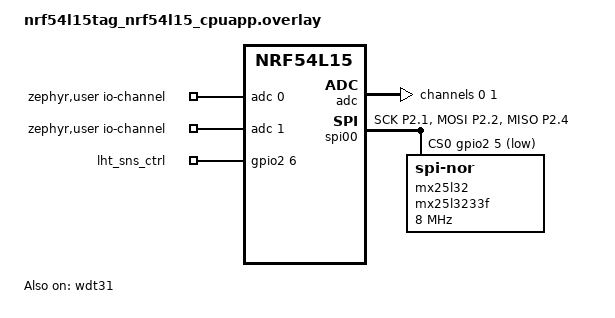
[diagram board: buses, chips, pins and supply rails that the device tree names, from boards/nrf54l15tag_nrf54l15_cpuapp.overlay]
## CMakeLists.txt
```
cmake_minimum_required(VERSION 3.20.0)

find_package(Zephyr REQUIRED HINTS $ENV{ZEPHYR_BASE})
project(juxta6_0_prod LANGUAGES C)

target_sources(app PRIVATE
	src/main.c
	src/ble_service.c
	src/juxta_time.c
	src/juxta_settings.c
	src/juxta_rtt_log.c
	src/juxta_antenna.c
	src/juxta_log.c
	src/juxta_light.c
	src/juxta_checkpoint.c
	${CMAKE_CURRENT_SOURCE_DIR}/../../lib/juxta_id/src/juxta_id.c
	${CMAKE_CURRENT_SOURCE_DIR}/../../lib/juxta_motion/src/juxta_motion.c
	${CMAKE_CURRENT_SOURCE_DIR}/../../lib/juxta_vdd/src/juxta_vdd.c
	# Vendored ADXL367 driver without boot self-test (CONFIG_ADXL367=n).
	${CMAKE_CURRENT_SOURCE_DIR}/../../lib/juxta_adxl367/src/adxl367.c
	${CMAKE_CURRENT_SOURCE_DIR}/../../lib/juxta_adxl367/src/adxl367_i2c.c
)
target_include_directories(app PRIVATE
	src
	${CMAKE_CURRENT_SOURCE_DIR}/../../lib/juxta_id/include
	${CMAKE_CURRENT_SOURCE_DIR}/../../lib/juxta_motion/include
	${CMAKE_CURRENT_SOURCE_DIR}/../../lib/juxta_vdd/include
)
```

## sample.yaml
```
sample:
  name: Juxta6-0 Prod
  description: >
    Shelf, Hublink datetime sync, dual-antenna max-RSSI production, live vitals,
    NOR CSV, MCUboot SMP BLE DFU. No Channel Sounding.

common:
  tags:
    - tag
    - juxta
    - production

tests:
  applications.juxta6-0-prod:
    platform_allow:
      - nrf54l15tag/nrf54l15/cpuapp
    harness: console
```

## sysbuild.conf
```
# juxta6-0-prod: MCUboot dual-slot images for SMP BLE DFU (nRF Device Manager).
SB_CONFIG_BOOTLOADER_MCUBOOT=y
# NCS 3.3: Partition Manager is deprecated. Use the Tag DTS layout
# (boot 64 KB, slot0/slot1 664 KB, storage 36 KB in nrf54l15_cpuapp_partition.dtsi).
SB_CONFIG_PARTITION_MANAGER=n
```

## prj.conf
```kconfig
# juxta6-0-prod M2: Hublink + dual-ant RSSI + live vitals + MX25L3233 NOR CSV
CONFIG_GPIO=y
CONFIG_ADC=y
CONFIG_I2C=y
CONFIG_SPI=y
CONFIG_SENSOR=y
# In-tree ADXL367 driver off: the app builds the vendored copy in
# lib/juxta_adxl367/ (identical except no motion-sensitive boot self-test).
CONFIG_ADXL367=n
CONFIG_BME680=y
CONFIG_BMI270=y
CONFIG_PM_DEVICE=y
# Lets the MX25 enter deep power-down between flash ops (see overlay has-dpd).
# HIL-14 (tag-nor-dpd) passed with rpm=on. Nordic's SoC defconfig defaults
# PM_DEVICE_RUNTIME_DEFAULT_ENABLE to y, which suspends every device at boot
# including i2c21. Keep that off so only the MX25 node opts in.
CONFIG_PM_DEVICE_RUNTIME=y
CONFIG_PM_DEVICE_RUNTIME_DEFAULT_ENABLE=n
CONFIG_HWINFO=y
CONFIG_POWEROFF=y
CONFIG_REBOOT=y

# Field survival: hard faults reboot instead of halting forever, and a
# hardware watchdog (wdt31, 60 s) catches silent hangs. Fed from all
# long-lived loops in main.c and from juxta_log's long-erase tick.
CONFIG_RESET_ON_FATAL_ERROR=y
CONFIG_WATCHDOG=y

# RTT must never block in the field (no debugger attached to drain it).
CONFIG_SEGGER_RTT_MODE_NO_BLOCK_SKIP=y
CONFIG_LOG_BACKEND_RTT_MODE_DROP=y

# GATT client required for bt_gatt_exchange_mtu() (iOS long writes).
CONFIG_BT_GATT_CLIENT=y

CONFIG_BT=y
CONFIG_BT_PERIPHERAL=y
CONFIG_BT_OBSERVER=y
CONFIG_BT_DEVICE_NAME="JX_TAG"
CONFIG_BT_DEVICE_NAME_DYNAMIC=y
CONFIG_BT_DEVICE_NAME_MAX=16
# Advertise preferred conn params in GAP (iOS reads before explicit update).
CONFIG_BT_GAP_PERIPHERAL_PREF_PARAMS=y
CONFIG_BT_PERIPHERAL_PREF_MIN_INT=24
CONFIG_BT_PERIPHERAL_PREF_MAX_INT=40
CONFIG_BT_PERIPHERAL_PREF_LATENCY=0
CONFIG_BT_PERIPHERAL_PREF_TIMEOUT=400
CONFIG_BT_MAX_CONN=1
CONFIG_BT_GATT_DYNAMIC_DB=y
CONFIG_BT_EXT_ADV=n
CONFIG_BT_RX_STACK_SIZE=6144

# Hublink transfer / Node JSON envelope (default ATT MTU is too small).
CONFIG_BT_L2CAP_TX_MTU=247
CONFIG_BT_BUF_ACL_RX_SIZE=251
CONFIG_BT_BUF_ACL_TX_SIZE=251
CONFIG_BT_ATT_PREPARE_COUNT=0
CONFIG_BT_PRIVACY=n
CONFIG_BT_SETTINGS=n

# External SPI NOR (MX25L3233) + internal NVS settings.
CONFIG_FLASH=y
CONFIG_FLASH_MAP=y
CONFIG_FLASH_PAGE_LAYOUT=y
CONFIG_SPI_NOR=y
CONFIG_SPI_NOR_SFDP_RUNTIME=y
CONFIG_NVS=y
CONFIG_SETTINGS=y
CONFIG_SETTINGS_NVS=y
# 8 x 4 KB sectors (36 KB storage partition): the juxta/log_cache blob is
# ~2.3 KB at JUXTA_MAX_FILES=72, so 4 sectors left no GC headroom.
CONFIG_SETTINGS_NVS_SECTOR_COUNT=8
CONFIG_MPU_ALLOW_FLASH_WRITE=y
CONFIG_CRC=y

CONFIG_LOG=y
CONFIG_LOG_DEFAULT_LEVEL=3
CONFIG_CBPRINTF_FP_SUPPORT=y

CONFIG_MAIN_STACK_SIZE=8192
CONFIG_SYSTEM_WORKQUEUE_STACK_SIZE=8192
CONFIG_HEAP_MEM_POOL_SIZE=16384

# MCUboot dual-slot image + mcumgr SMP BLE (DFU after ≥10 s magnet hold).
# Flash with Sysbuild enabled so MCUboot is linked; upload via nRF Device Manager.
CONFIG_BOOTLOADER_MCUBOOT=y
CONFIG_IMG_MANAGER=y
CONFIG_STREAM_FLASH=y
CONFIG_NET_BUF=y
CONFIG_ZCBOR=y
CONFIG_MCUMGR=y
CONFIG_MCUMGR_GRP_IMG=y
CONFIG_MCUMGR_GRP_OS=y
CONFIG_MCUMGR_TRANSPORT_BT=y
CONFIG_MCUMGR_TRANSPORT_BT_DYNAMIC_SVC_REGISTRATION=y
CONFIG_MCUMGR_TRANSPORT_BT_REASSEMBLY=y
CONFIG_MCUMGR_TRANSPORT_NETBUF_SIZE=1024
CONFIG_MCUMGR_TRANSPORT_WORKQUEUE_STACK_SIZE=4096
```

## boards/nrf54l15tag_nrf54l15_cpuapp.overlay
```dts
/*
 * juxta6-0-prod: un-hog SKY13348 + SAADC VDD + MX25L3233 (32 Mbit) on spi00.
 *
 * Sensors + external NOR use zephyr,deferred-init so their driver probes run
 * from main() after the CR2032 contact-settle sleep (not during POST_KERNEL).
 */

/ {
	zephyr,user {
		/* 0 = internal VDD (lib/juxta_vdd), 1 = LIGHT_SENSE (src/juxta_light). */
		io-channels = <&adc 0>, <&adc 1>;
	};

	lht_sns {
		compatible = "gpio-leds";

		/* RV2C010UNT2L gate. Active-high connects the 2.7 kΩ load. */
		lht_sns_ctrl: lht_sns_ctrl {
			gpios = <&gpio2 6 GPIO_ACTIVE_HIGH>;
		};
	};

	aliases {
		spi-flash0 = &mx25l32;
		spi-mem = &mx25l32;
		watchdog0 = &wdt31;
	};
};

/* Hardware watchdog for field hang recovery (runs from LFCLK, which stops
 * in System OFF, so shelf mode is unaffected). */
&wdt31 {
	status = "okay";
};

&gpio1 {
	/delete-node/ antenna_switch_v1;
	/delete-node/ antenna_switch_v2;
};

&adc {
	#address-cells = <1>;
	#size-cells = <0>;
	status = "okay";

	channel@0 {
		reg = <0>;
		zephyr,gain = "ADC_GAIN_1_4";
		zephyr,reference = "ADC_REF_INTERNAL";
		zephyr,acquisition-time = <ADC_ACQ_TIME_DEFAULT>;
		zephyr,resolution = <14>;
		zephyr,oversampling = <8>;
		zephyr,vref-mv = <900>;
		zephyr,input-positive = <NRF_SAADC_VDD>;
	};

	/* LIGHT_SENSE, P1.14. External pin can swing toward VDD, so GAIN_1_4
	 * with the 0.9 V reference (full scale 3.6 V). GAIN_1 clips above 0.9 V. */
	channel@1 {
		reg = <1>;
		zephyr,gain = "ADC_GAIN_1_4";
		zephyr,reference = "ADC_REF_INTERNAL";
		zephyr,acquisition-time = <ADC_ACQ_TIME_DEFAULT>;
		zephyr,resolution = <14>;
		zephyr,oversampling = <8>;
		zephyr,vref-mv = <900>;
		zephyr,input-positive = <NRF_SAADC_AIN7>;
	};
};

&pinctrl {
	spi00_default: spi00_default {
		group1 {
			psels = <NRF_PSEL(SPIM_SCK, 2, 1)>,
				<NRF_PSEL(SPIM_MOSI, 2, 2)>,
				<NRF_PSEL(SPIM_MISO, 2, 4)>;
		};
	};

	spi00_sleep: spi00_sleep {
		group1 {
			psels = <NRF_PSEL(SPIM_SCK, 2, 1)>,
				<NRF_PSEL(SPIM_MOSI, 2, 2)>,
				<NRF_PSEL(SPIM_MISO, 2, 4)>;
			low-power-enable;
		};
	};
};

&spi00 {
	status = "okay";
	cs-gpios = <&gpio2 5 GPIO_ACTIVE_LOW>;
	pinctrl-0 = <&spi00_default>;
	pinctrl-1 = <&spi00_sleep>;
	pinctrl-names = "default", "sleep";

	mx25l32: mx25l3233f@0 {
		compatible = "jedec,spi-nor";
		status = "okay";
		reg = <0>;
		spi-max-frequency = <8000000>;
		jedec-id = [c2 20 16];
		size = <0x2000000>; /* 32 Mbit = 4 MiB */
		has-dpd;
		t-enter-dpd = <10000>;
		t-exit-dpd = <100000>;
		/* Suspend into deep power-down between flash API calls.
		 * Requires CONFIG_PM_DEVICE_RUNTIME and
		 * CONFIG_PM_DEVICE_RUNTIME_DEFAULT_ENABLE=n in prj.conf.
		 */
		zephyr,pm-device-runtime-auto;
		zephyr,deferred-init;
	};
};

/*
 * SoC dts marks this TWIM zephyr,pm-device-runtime-auto. With runtime PM on,
 * that suspends the bus at boot (pins disconnected) and the first ADXL
 * transaction returns -EIO. NOR deep power-down does not need I2C runtime PM.
 */
&i2c21 {
	/delete-property/ zephyr,pm-device-runtime-auto;
};

/* Probe after contact settle in main() — see juxta6-0-prod src/main.c. */
&adxl367 {
	zephyr,deferred-init;
};

&bme688 {
	zephyr,deferred-init;
};

&bmi270 {
	zephyr,deferred-init;
};
```

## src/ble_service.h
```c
#ifndef JUXTA_BLE_SERVICE_H_
#define JUXTA_BLE_SERVICE_H_

#include <stdbool.h>
#include <stdint.h>

#include <zephyr/bluetooth/conn.h>
#include <zephyr/bluetooth/uuid.h>

#include "juxta_log.h"

#define JUXTA_HUBLINK_SERVICE_UUID                                                                  \
	0xFB, 0x34, 0x9B, 0x5F, 0x80, 0x00, 0x00, 0x80, 0x01, 0x00, 0x01, 0x55, 0x68, 0x73,       \
		0x61, 0x57
#define JUXTA_NODE_CHAR_UUID                                                                        \
	0xFB, 0x34, 0x9B, 0x5F, 0x80, 0x00, 0x00, 0x80, 0x01, 0x00, 0x05, 0x55, 0x68, 0x73,       \
		0x61, 0x57
#define JUXTA_GATEWAY_CHAR_UUID                                                                     \
	0xFB, 0x34, 0x9B, 0x5F, 0x80, 0x00, 0x00, 0x80, 0x01, 0x00, 0x04, 0x55, 0x68, 0x73,       \
		0x61, 0x57
#define JUXTA_FILENAME_CHAR_UUID                                                                    \
	0xFB, 0x34, 0x9B, 0x5F, 0x80, 0x00, 0x00, 0x80, 0x01, 0x00, 0x02, 0x55, 0x68, 0x73,       \
		0x61, 0x57
#define JUXTA_FILE_TRANSFER_CHAR_UUID                                                               \
	0xFB, 0x34, 0x9B, 0x5F, 0x80, 0x00, 0x00, 0x80, 0x01, 0x00, 0x03, 0x55, 0x68, 0x73,       \
		0x61, 0x57

#define BT_UUID_JUXTA_HUBLINK_SERVICE BT_UUID_DECLARE_128(JUXTA_HUBLINK_SERVICE_UUID)
#define BT_UUID_JUXTA_NODE_CHAR BT_UUID_DECLARE_128(JUXTA_NODE_CHAR_UUID)
#define BT_UUID_JUXTA_GATEWAY_CHAR BT_UUID_DECLARE_128(JUXTA_GATEWAY_CHAR_UUID)
#define BT_UUID_JUXTA_FILENAME_CHAR BT_UUID_DECLARE_128(JUXTA_FILENAME_CHAR_UUID)
#define BT_UUID_JUXTA_FILE_TRANSFER_CHAR BT_UUID_DECLARE_128(JUXTA_FILE_TRANSFER_CHAR_UUID)

int juxta_ble_service_init(struct juxta_log_context *log_ctx);
int juxta_ble_get_device_id(char *device_id);
void juxta_ble_connection_established(struct bt_conn *conn);
void juxta_ble_connection_terminated(void);
/* Drop the active Hublink link. No-op if none. */
void juxta_ble_disconnect(void);
int juxta_ble_get_status(uint16_t *mtu, bool *connected, bool *transfer_active);

/* Set a getter that returns current battery voltage in millivolts.
 * Called once from main() before advertising starts. */
void juxta_ble_set_battery_mv_source(int32_t (*getter)(void));
void juxta_ble_set_production_ready(void);

/* Push the current NOR fill level (0-100) for Node reads. Computing it walks
 * a whole NOR region with a main-thread-only scratch buffer, so the GATT read
 * handler must never do it inline on the BT RX thread; main.c refreshes this
 * after log init and at each vitals tick instead. */
void juxta_ble_set_memory_level(uint8_t percent);

bool juxta_ble_datetime_synced(void);
void juxta_ble_clear_datetime_synced(void);

/* Optional: implemented in main.c (may be empty). */
void juxta_ble_timing_update_trigger(void);
void juxta_ble_datetime_synchronized(void);
void juxta_ble_reset_requested(void);
/* Called from the BT RX thread when a gateway `clearMemory` command arrives.
 * The implementation must defer the actual NOR erase off the BT RX thread so
 * the GATT write callback returns promptly (the erase is many seconds long;
 * doing it inline blows past the BLE supervision timeout and stalls every
 * other consumer of the BT RX queue). */
void juxta_ble_clear_memory_requested(void);
/* Role (Mobile/Base) changed — main rebuilds ADV name / log device_id. */
void juxta_ble_role_changed(void);

#endif /* JUXTA_BLE_SERVICE_H_ */
```

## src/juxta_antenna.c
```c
#include "juxta_antenna.h"

#include <errno.h>

#include <zephyr/device.h>
#include <zephyr/devicetree.h>
#include <zephyr/drivers/gpio.h>
#include <zephyr/logging/log.h>
#include <zephyr/sys/atomic.h>

LOG_MODULE_REGISTER(juxta_antenna, LOG_LEVEL_INF);

#if !DT_NODE_EXISTS(DT_NODELABEL(sky13348))
#error "juxta_antenna requires sky13348"
#endif

static const struct gpio_dt_spec ant_v1 = GPIO_DT_SPEC_GET(DT_NODELABEL(sky13348), v1_gpios);
static const struct gpio_dt_spec ant_v2 = GPIO_DT_SPEC_GET(DT_NODELABEL(sky13348), v2_gpios);
static atomic_t cur_ant = ATOMIC_INIT(1);

int juxta_antenna_select(uint8_t ant)
{
	int err;

	if (ant == 1U) {
		err = gpio_pin_set_dt(&ant_v1, 1);
		if (err) {
			return err;
		}
		err = gpio_pin_set_dt(&ant_v2, 0);
		if (err) {
			return err;
		}
		atomic_set(&cur_ant, 1);
	} else if (ant == 2U) {
		err = gpio_pin_set_dt(&ant_v2, 1);
		if (err) {
			return err;
		}
		err = gpio_pin_set_dt(&ant_v1, 0);
		if (err) {
			return err;
		}
		atomic_set(&cur_ant, 2);
	} else {
		return -EINVAL;
	}

	return 0;
}

int juxta_antenna_init(void)
{
	int err;

	if (!gpio_is_ready_dt(&ant_v1) || !gpio_is_ready_dt(&ant_v2)) {
		LOG_ERR("antenna GPIO not ready (hog-delete overlay?)");
		return -ENODEV;
	}

	err = gpio_pin_configure_dt(&ant_v1, GPIO_OUTPUT_ACTIVE);
	if (err) {
		return err;
	}
	err = gpio_pin_configure_dt(&ant_v2, GPIO_OUTPUT_INACTIVE);
	if (err) {
		return err;
	}

	return juxta_antenna_select(1);
}

uint8_t juxta_antenna_current(void)
{
	return (uint8_t)atomic_get(&cur_ant);
}
```

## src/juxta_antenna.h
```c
#ifndef JUXTA_ANTENNA_H_
#define JUXTA_ANTENNA_H_

#include <stdint.h>

int juxta_antenna_init(void);
int juxta_antenna_select(uint8_t ant); /* 1 or 2 */
uint8_t juxta_antenna_current(void);

#endif /* JUXTA_ANTENNA_H_ */
```

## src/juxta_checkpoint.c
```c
#include "juxta_checkpoint.h"

#include <errno.h>
#include <stddef.h>
#include <string.h>

#include <zephyr/device.h>
#include <zephyr/devicetree.h>
#include <zephyr/drivers/flash.h>
#include <zephyr/kernel.h>
#include <zephyr/logging/log.h>
#include <zephyr/sys/crc.h>
#include <zephyr/sys/util.h>

LOG_MODULE_REGISTER(juxta_checkpoint, LOG_LEVEL_INF);

#define FLASH_NODE DT_ALIAS(spi_mem)

/* Ring geometry.  RING_START must match the space carved from the tail of
 * JXB in juxta_log.c (JXB_SIZE shrunk 0x2F0000 -> 0x2E0000); the two
 * modules never overlap and neither touches the other's region. */
#define RING_START 0x3F0000U
#define RING_SIZE 0x010000U
#define SECTOR_SIZE 0x1000U
#define SLOT_SIZE 32U

#define SLOTS_PER_SECTOR (SECTOR_SIZE / SLOT_SIZE) /* 128 */
#define TOTAL_SLOTS (RING_SIZE / SLOT_SIZE)		   /* 2048 */
#define SECTOR_COUNT (RING_SIZE / SECTOR_SIZE)	   /* 16 */

#define SLOT_MAGIC 0x4A58434BU /* 'JXCK' */
#define SLOT_VERSION 1U

/* On-flash record.  CRC32 covers everything before the crc32 field.
 * Erased flash (all 0xFF) naturally fails the magic + CRC check. */
struct checkpoint_slot
{
	uint32_t magic;
	uint32_t seq; /* monotonic across the whole ring; newest wins */
	uint32_t unix_time;
	uint32_t motion_count;
	int32_t batt_mv;
	int8_t temp_c;
	uint8_t version;
	uint8_t flags; /* reserved, 0 */
	uint8_t _pad;
	uint32_t reserved; /* future use, 0 */
	uint32_t crc32;
};

BUILD_ASSERT(sizeof(struct checkpoint_slot) == SLOT_SIZE,
			 "checkpoint slot must be exactly one ring slot");

static const struct device *const s_flash = DEVICE_DT_GET(FLASH_NODE);

/* Serializes head/seq mutations and multi-step flash sequences between the
 * 1 Hz checkpoint work item (sysworkq), the clearMemory work item (also
 * sysworkq) and enter_shelf_mode() on the main thread. */
static K_MUTEX_DEFINE(s_lock);

static bool s_scanned;	/* head/seq/newest are valid */
static bool s_disabled; /* writes no-op (shelf teardown) */
static uint32_t s_head; /* next slot index to write, 0..TOTAL_SLOTS-1 */
static uint32_t s_next_seq;
static struct juxta_checkpoint_record s_newest;
static bool s_newest_valid;

static uint32_t slot_offset(uint32_t slot)
{
	return RING_START + slot * SLOT_SIZE;
}

static uint32_t slot_crc(const struct checkpoint_slot *slot)
{
	return crc32_ieee((const uint8_t *)slot, offsetof(struct checkpoint_slot, crc32));
}

static bool slot_valid(const struct checkpoint_slot *slot)
{
	return slot->magic == SLOT_MAGIC && slot->version == SLOT_VERSION &&
		   slot->unix_time != 0U && slot->crc32 == slot_crc(slot);
}

static int erase_sector_at(uint32_t offset)
{
	int rc = flash_erase(s_flash, offset & ~(SECTOR_SIZE - 1U), SECTOR_SIZE);

	if (rc != 0)
	{
		LOG_ERR("sector erase @0x%06x failed: %d", (unsigned int)offset, rc);
	}
	return rc;
}

/* Scan the whole ring: remember the newest valid record (highest seq) and
 * park the write head on the slot after it.  If the remainder of the head's
 * sector is not erased (stale data from a previous wrap), advance the head
 * to the next sector boundary — the on-entry erase in write() handles the
 * rest.  Must be called with s_lock held. */
static int scan_ring_locked(void)
{
	static uint8_t buf[512]; /* 16 slots per read, 128 reads total */
	struct checkpoint_slot slot;
	uint32_t best_seq = 0U;
	uint32_t best_slot = UINT32_MAX;
	struct juxta_checkpoint_record best = {0};

	if (!device_is_ready(s_flash))
	{
		return -ENODEV;
	}

	for (uint32_t off = 0U; off < RING_SIZE; off += sizeof(buf))
	{
		int rc = flash_read(s_flash, RING_START + off, buf, sizeof(buf));

		if (rc != 0)
		{
			LOG_ERR("scan read @0x%06x failed: %d", (unsigned int)(RING_START + off), rc);
			return rc;
		}

		for (uint32_t i = 0U; i < sizeof(buf); i += SLOT_SIZE)
		{
			memcpy(&slot, &buf[i], sizeof(slot));
			if (slot_valid(&slot) && slot.seq >= best_seq)
			{
				best_seq = slot.seq;
				best_slot = (off + i) / SLOT_SIZE;
				best.unix_time = slot.unix_time;
				best.motion_count = slot.motion_count;
				best.batt_mv = slot.batt_mv;
				best.temp_c = slot.temp_c;
			}
		}
	}

	if (best_slot == UINT32_MAX)
	{
		s_head = 0U;
		s_next_seq = 1U;
		s_newest_valid = false;
		s_scanned = true;
		LOG_INF("ring empty — head at slot 0");
		return 0;
	}

	s_newest = best;
	s_newest_valid = true;
	s_next_seq = best_seq + 1U;
	s_head = (best_slot + 1U) % TOTAL_SLOTS;

	/* Stale-tail check: programming over non-erased bytes would corrupt
	 * every record until the next sector boundary.  If any byte between
	 * the head and its sector end is not 0xFF, skip to the next sector
	 * (loses nothing newer than the oldest records). */
	if ((s_head % SLOTS_PER_SECTOR) != 0U)
	{
		uint32_t sector_end_slot = ((s_head / SLOTS_PER_SECTOR) + 1U) * SLOTS_PER_SECTOR;
		bool tail_erased = true;

		for (uint32_t slot_idx = s_head; slot_idx < sector_end_slot && tail_erased;
			 slot_idx += sizeof(buf) / SLOT_SIZE)
		{
			uint32_t count = MIN(sizeof(buf) / SLOT_SIZE, sector_end_slot - slot_idx);
			int rc = flash_read(s_flash, slot_offset(slot_idx), buf, count * SLOT_SIZE);

			if (rc != 0)
			{
				return rc;
			}
			for (uint32_t b = 0U; b < count * SLOT_SIZE; b++)
			{
				if (buf[b] != 0xFFU)
				{
					tail_erased = false;
					break;
				}
			}
		}

		if (!tail_erased)
		{
			s_head = sector_end_slot % TOTAL_SLOTS;
		}
	}

	s_scanned = true;
	LOG_INF("newest seq=%u unix=%u — head at slot %u", best_seq, best.unix_time, s_head);
	return 0;
}

static int ensure_scanned_locked(void)
{
	if (s_scanned)
	{
		return 0;
	}
	return scan_ring_locked();
}

int juxta_checkpoint_init(void)
{
	k_mutex_lock(&s_lock, K_FOREVER);
	int rc = ensure_scanned_locked();

	k_mutex_unlock(&s_lock);
	return rc;
}

int juxta_checkpoint_load(struct juxta_checkpoint_record *out)
{
	if (!out)
	{
		return -EINVAL;
	}

	k_mutex_lock(&s_lock, K_FOREVER);
	int rc = ensure_scanned_locked();

	if (rc == 0)
	{
		if (s_newest_valid)
		{
			*out = s_newest;
		}
		else
		{
			rc = -ENOENT;
		}
	}
	k_mutex_unlock(&s_lock);
	return rc;
}

int juxta_checkpoint_write(const struct juxta_checkpoint_record *rec)
{
	struct checkpoint_slot slot;
	int rc;

	if (!rec || rec->unix_time == 0U)
	{
		return -EINVAL;
	}

	k_mutex_lock(&s_lock, K_FOREVER);

	if (s_disabled)
	{
		k_mutex_unlock(&s_lock);
		return 0;
	}

	rc = ensure_scanned_locked();
	if (rc != 0)
	{
		k_mutex_unlock(&s_lock);
		return rc;
	}

	/* On-entry erase: the sector the head is entering holds only the
	 * oldest ~2 minutes of records.  ~45 ms once every 128 writes —
	 * negligible next to the 60 s watchdog window. */
	if ((s_head % SLOTS_PER_SECTOR) == 0U)
	{
		rc = erase_sector_at(slot_offset(s_head));
		if (rc != 0)
		{
			k_mutex_unlock(&s_lock);
			return rc;
		}
	}

	memset(&slot, 0, sizeof(slot));
	slot.magic = SLOT_MAGIC;
	slot.seq = s_next_seq;
	slot.unix_time = rec->unix_time;
	slot.motion_count = rec->motion_count;
	slot.batt_mv = rec->batt_mv;
	slot.temp_c = rec->temp_c;
	slot.version = SLOT_VERSION;
	slot.crc32 = slot_crc(&slot);

	rc = flash_write(s_flash, slot_offset(s_head), &slot, sizeof(slot));
	if (rc != 0)
	{
		LOG_ERR("slot write @%u failed: %d", s_head, rc);
		/* Skip the (possibly half-programmed) slot so the next write
		 * cannot land on dirty bytes. */
		s_head = (s_head + 1U) % TOTAL_SLOTS;
		k_mutex_unlock(&s_lock);
		return rc;
	}

	s_newest.unix_time = rec->unix_time;
	s_newest.motion_count = rec->motion_count;
	s_newest.batt_mv = rec->batt_mv;
	s_newest.temp_c = rec->temp_c;
	s_newest_valid = true;
	s_next_seq++;
	s_head = (s_head + 1U) % TOTAL_SLOTS;

	k_mutex_unlock(&s_lock);
	return 0;
}

/* Erase every non-blank sector of the ring and restart at slot 0.  The
 * already-erased check keeps repeat resets (activation after a shelf-entry
 * erase) nearly free.  Must be called with s_lock held. */
static int erase_ring_locked(void)
{
	static uint8_t buf[512];

	if (!device_is_ready(s_flash))
	{
		return -ENODEV;
	}

	for (uint32_t sector = 0U; sector < SECTOR_COUNT; sector++)
	{
		uint32_t base = RING_START + sector * SECTOR_SIZE;
		bool blank = true;

		for (uint32_t off = 0U; off < SECTOR_SIZE && blank; off += sizeof(buf))
		{
			int rc = flash_read(s_flash, base + off, buf, sizeof(buf));

			if (rc != 0)
			{
				return rc;
			}
			for (uint32_t b = 0U; b < sizeof(buf); b++)
			{
				if (buf[b] != 0xFFU)
				{
					blank = false;
					break;
				}
			}
		}

		if (!blank)
		{
			int rc = erase_sector_at(base);

			if (rc != 0)
			{
				return rc;
			}
		}
	}

	s_head = 0U;
	s_next_seq = 1U;
	s_newest_valid = false;
	s_scanned = true;
	return 0;
}

int juxta_checkpoint_reset(void)
{
	k_mutex_lock(&s_lock, K_FOREVER);
	int rc = erase_ring_locked();

	if (rc == 0)
	{
		s_disabled = false;
		LOG_INF("ring reset — checkpointing enabled");
	}
	k_mutex_unlock(&s_lock);
	return rc;
}

void juxta_checkpoint_disable(void)
{
	k_mutex_lock(&s_lock, K_FOREVER);
	s_disabled = true;
	k_mutex_unlock(&s_lock);
}

int juxta_checkpoint_erase(void)
{
	k_mutex_lock(&s_lock, K_FOREVER);
	int rc = erase_ring_locked();

	k_mutex_unlock(&s_lock);
	return rc;
}
```

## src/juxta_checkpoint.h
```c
/*
 * Production checkpoint ring ("draft vitals")
 *
 * A 64 KB ring buffer at the tail of the external NOR (carved from JXB)
 * that persists a small clock + vitals snapshot once per second while
 * production runs.  Unlike a retained-RAM snapshot (which only survives
 * soft resets), this ring survives a true power-on reset — the basis for
 * resuming production after a mid-session POR instead of silently shelving.
 *
 * Geometry: 16 × 4 KB sectors, 32 B records → 2048 slots (~34 min of
 * history at 1 Hz).  Each sector is erased as the write head enters it,
 * so the newest ~15 sectors of records are always intact.  Endurance:
 * ~42 sector erases/day → years at typical 100k NOR P/E cycles.  A torn
 * record from a dying supply simply fails CRC; the previous record wins.
 *
 * SPDX-License-Identifier: Apache-2.0
 */

#ifndef JUXTA_CHECKPOINT_H_
#define JUXTA_CHECKPOINT_H_

#include <stdint.h>

/* RAM-facing view of one checkpoint.  The on-flash slot adds magic, a
 * monotonic sequence number, a version byte and a CRC32 (32 B total). */
struct juxta_checkpoint_record
{
	uint32_t unix_time;	   /* clock at capture (never 0 for stored records) */
	uint32_t motion_count; /* ADXL367 events since the last JXV vitals row */
	int32_t batt_mv;	   /* last battery sample */
	int8_t temp_c;		   /* unused (env temp is BME688 → JXV only) */
};

/* Scan the ring for the newest valid record and position the write head
 * after it.  Idempotent; safe to call before juxta_settings_init() (touches
 * only external NOR).  Returns 0 on success (including an empty ring),
 * -ENODEV when the flash device is not ready. */
int juxta_checkpoint_init(void);

/* Copy the newest valid record found by the scan into *out.
 * Auto-scans when needed.  Returns 0 on success, -ENOENT when the ring
 * holds no valid record. */
int juxta_checkpoint_load(struct juxta_checkpoint_record *out);

/* Append one record at the write head (erasing the sector on first entry).
 * No-ops with 0 after juxta_checkpoint_disable().  Auto-scans when needed.
 * Called from the system workqueue once per second in production. */
int juxta_checkpoint_write(const struct juxta_checkpoint_record *rec);

/* Erase the whole ring and restart at slot 0 with writes enabled.  Called
 * at every fresh production activation (before op_mode := PROD) and from
 * the clearMemory path so a stale draft can never leak across sessions. */
int juxta_checkpoint_reset(void);

/* Stop accepting writes (shelf entry teardown).  The 1 Hz timer may still
 * fire once more; the queued write becomes a no-op. */
void juxta_checkpoint_disable(void);

/* Erase the ring storage without changing the disabled state.  Used by
 * enter_shelf_mode() after juxta_checkpoint_disable(). */
int juxta_checkpoint_erase(void);

#endif /* JUXTA_CHECKPOINT_H_ */
```

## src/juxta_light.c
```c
/*
 * TEMT6200FX01 light sample for JXV vitals.
 *
 * Collector is VDD, emitter is LIGHT_SENSE (P1.14 / AIN7). A 2.7 kΩ resistor
 * from LIGHT_SENSE goes to the RV2C010UNT2L drain; its gate is LHT_SNS_CTRL
 * (P2.06) and its source is GND. The gate is high only for the sample.
 *
 * lux = JUXTA_LIGHT_LUX_PER_MV * mV, with mV clamped at 0. Calibration
 * record: applications/tag-light/README.md.
 */

#include "juxta_light.h"

#include <errno.h>

#include <zephyr/drivers/adc.h>
#include <zephyr/drivers/gpio.h>
#include <zephyr/kernel.h>
#include <zephyr/logging/log.h>

LOG_MODULE_REGISTER(juxta_light, LOG_LEVEL_INF);

#define LIGHT_SETTLE_MS 10

static const struct adc_dt_spec light_adc = ADC_DT_SPEC_GET_BY_IDX(DT_PATH(zephyr_user), 1);
static const struct gpio_dt_spec lht_sns_ctrl = GPIO_DT_SPEC_GET(DT_NODELABEL(lht_sns_ctrl), gpios);

static int16_t sample_buf;
static bool ready;
static bool calibrated;

int juxta_light_init(void)
{
	int err;

	if (ready) {
		return 0;
	}

	if (!gpio_is_ready_dt(&lht_sns_ctrl)) {
		LOG_ERR("LHT_SNS_CTRL GPIO not ready");
		return -ENODEV;
	}

	err = gpio_pin_configure_dt(&lht_sns_ctrl, GPIO_OUTPUT_INACTIVE);
	if (err) {
		LOG_ERR("LHT_SNS_CTRL configure (%d)", err);
		return err;
	}

	if (!adc_is_ready_dt(&light_adc)) {
		LOG_ERR("light ADC not ready");
		return -ENODEV;
	}

	err = adc_channel_setup_dt(&light_adc);
	if (err) {
		LOG_ERR("light adc_channel_setup_dt (%d)", err);
		return err;
	}

	ready = true;
	LOG_INF("light ADC ready (channel %u)", light_adc.channel_id);
	return 0;
}

int juxta_light_read_lux(uint32_t *lux)
{
	struct adc_sequence sequence = {
		.buffer = &sample_buf,
		.buffer_size = sizeof(sample_buf),
	};
	int err;
	int32_t mv;

	if (lux == NULL) {
		return -EINVAL;
	}
	if (!ready) {
		return -EAGAIN;
	}

	err = gpio_pin_set_dt(&lht_sns_ctrl, 1);
	if (err) {
		return err;
	}

	k_sleep(K_MSEC(LIGHT_SETTLE_MS));

	err = adc_sequence_init_dt(&light_adc, &sequence);
	if (err) {
		goto out;
	}

	sequence.calibrate = !calibrated;
	err = adc_read_dt(&light_adc, &sequence);
	if (err) {
		goto out;
	}
	calibrated = true;

	mv = sample_buf;
	err = adc_raw_to_millivolts_dt(&light_adc, &mv);
	if (err) {
		goto out;
	}

	if (mv < 0) {
		mv = 0;
	}
	*lux = (uint32_t)((JUXTA_LIGHT_LUX_PER_MV * (float)mv) + 0.5f);

out:
	(void)gpio_pin_set_dt(&lht_sns_ctrl, 0);
	return err;
}
```

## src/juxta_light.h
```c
#ifndef JUXTA_LIGHT_H_
#define JUXTA_LIGHT_H_

#include <stdint.h>

/*
 * Loaded-millivolt to lux, linear through the origin. Change this one line
 * when recalibrating (for example inside an enclosure). Raw points, method,
 * and fit: applications/tag-light/README.md.
 */
#define JUXTA_LIGHT_LUX_PER_MV 4.99376f

/* Configure LHT_SNS_CTRL (P2.06) and the LIGHT_SENSE ADC channel. */
int juxta_light_init(void);

/*
 * Turn the load FET on, sample LIGHT_SENSE, then turn it off again.
 * Writes a non-negative whole-lux value. Returns 0, or a negative errno.
 */
int juxta_light_read_lux(uint32_t *lux);

#endif /* JUXTA_LIGHT_H_ */
```

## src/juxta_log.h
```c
#ifndef JUXTA_LOG_H_
#define JUXTA_LOG_H_

#include <stdbool.h>
#include <stddef.h>
#include <stdint.h>

#include "juxta_prod.h"
#include "juxta_settings.h"

enum juxta_log_type
{
	JUXTA_LOG_JXS = 'S',
	JUXTA_LOG_JXV = 'V',
	JUXTA_LOG_JXB = 'B',
};

struct juxta_file_entry
{
	char path[JUXTA_FILE_PATH_LEN];
	uint32_t offset;
	uint32_t length;
	enum juxta_log_type type;
	bool active;
};

struct juxta_log_context
{
	const struct device *flash;
	bool initialized;
	struct juxta_file_entry files[JUXTA_MAX_FILES];
	uint16_t file_count;
	uint32_t active_jxs;
	uint32_t active_jxv;
	uint32_t active_jxb;
	/* Per-region "full" latch indexed by region position in juxta_log.c's
	 * regions[] array: 0 = JXS, 1 = JXV, 2 = JXB.  Set by the bounds-checked
	 * append helper the first time a write would cross the region end, or
	 * by ensure_file when first_erased_offset has reached the region end.
	 * Once latched the region silently drops further writes (and rotations)
	 * so the NOR can never bleed into a neighbouring region.  Cleared by
	 * juxta_log_format() and zero-initialised by juxta_log_init(). */
	bool region_full[3];
};

int juxta_log_init(struct juxta_log_context *ctx, const struct juxta_settings *settings,
				   const char *device_id);
/* Update the cached device_id used for JXS day_start / ble_name after a role change. */
void juxta_log_set_device_id(const char *device_id);
/* Erase the used extent of each CSV region (clearMemory) and reset the catalog. */
int juxta_log_format(struct juxta_log_context *ctx);
/* True while a format/erase is in progress; lock-free so BT callbacks can
 * bail out instead of blocking on the log mutex. */
bool juxta_log_busy(void);

/* Optional progress hook called inside long internal loops (currently the
 * flash_erase loop inside juxta_log_format).  main.c registers
 * prod_wdt_feed() here so the hardware watchdog stays fed during multi-second
 * clearMemory erases: the erase holds the log mutex, which can block the
 * main-loop feeds for the whole erase.  Implementations must be safe to call
 * from any workqueue thread and must not block. */
void juxta_log_set_long_op_tick(void (*tick)(void));
/* Append a JXS event with empty latitude/longitude columns. */
int juxta_log_append_event(struct juxta_log_context *ctx, const struct juxta_settings *settings,
						   const char *device_id, const char *event, uint32_t unix_time);
/* Same as append_event, but write this-event coords when loc_valid (time_set). */
int juxta_log_append_event_loc(struct juxta_log_context *ctx, const struct juxta_settings *settings,
			       const char *device_id, const char *event, uint32_t unix_time,
			       bool loc_valid, float latitude, float longitude);
/* temp_c / humidity: one-decimal BME688 fields; lux: whole lux from the
 * loaded TEMT6200. Empty CSV cells when the matching !*ok flag is set. */
int juxta_log_append_vitals(struct juxta_log_context *ctx, uint32_t unix_time, uint16_t motion,
			    int32_t batt_mv, float temp_c, bool temp_ok, float humidity,
			    bool humidity_ok, uint32_t lux, bool lux_ok);
/* No observer column (constant per device, in the package folder). ADV names
 * JX_/JB_XXXXXX are stored as 7-char peer_id: X|B + 6 hex. */
int juxta_log_append_ble_observation(struct juxta_log_context *ctx, uint32_t unix_time,
									 const char *peer_id, int8_t rssi);
int juxta_log_list_files(struct juxta_log_context *ctx, char *buffer, size_t buffer_size);
int juxta_log_find_file(struct juxta_log_context *ctx, const char *path,
						struct juxta_file_entry *entry);
int juxta_log_read_file(struct juxta_log_context *ctx, const struct juxta_file_entry *entry,
						uint32_t file_offset, uint8_t *buffer, size_t buffer_size,
						size_t *bytes_read);
/* BLE file transfer: CSV body only (no stored filename line, no #EOF trailer). */
uint32_t juxta_log_transfer_payload_bytes(const struct juxta_file_entry *entry);
int juxta_log_read_file_for_transfer(struct juxta_log_context *ctx,
									 const struct juxta_file_entry *entry, uint32_t file_offset,
									 uint8_t *buffer, size_t buffer_size, size_t *bytes_read);
int juxta_log_recover_files(struct juxta_log_context *ctx);
uint8_t juxta_log_memory_level_percent(const struct juxta_log_context *ctx);

/* Drain one pending "region latched full" notification. Returns 1 and copies
 * the region prefix ("JXS"/"JXV"/"JXB") into prefix (needs >= 4 bytes) if a
 * region newly latched since the last call, 0 if none, negative on bad args.
 * main.c polls this at vitals cadence and turns each into a JXS event + RTT
 * line so multi-week deployments never lose data silently. */
int juxta_log_take_region_full_event(char *prefix, size_t prefix_len);

#endif /* JUXTA_LOG_H_ */
```

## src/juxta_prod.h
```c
#ifndef JUXTA_PROD_H_
#define JUXTA_PROD_H_

#include <stdint.h>

#define JUXTA_PRODUCT_NAME "Juxta6-0"
#define JUXTA_FIRMWARE_VERSION "6.6.2"
/* v10: JXV lux (TEMT6200, whole lux, empty cell if the sample fails).
 * v9: Mobile (JX_) / Base (JB_) identity; JXB peer_id is X|B + 6 hex.
 * v8: JXV temp_c + humidity; vitals floor 60 s; JXS lat/lon; day-relative sec. */
#define JUXTA_LOG_SCHEMA "jxta-nor-csv-v10"
#define JUXTA_LOGGING_VERSION 10

#define JUXTA_DEVICE_ID_LEN 10
#define JUXTA_SUBJECT_ID_LEN 32
#define JUXTA_EXPERIMENT_LEN 32

#define JUXTA_DEFAULT_SCAN_INTERVAL_S 30U /* cadence between 1 s scan bursts */
#define JUXTA_DEFAULT_ADV_INTERVAL_S 2U   /* cadence between 1 s adv bursts */
#define JUXTA_DEFAULT_VITALS_INTERVAL_S 60U
#define JUXTA_MIN_VITALS_INTERVAL_S 60U /* hard floor — never denser than 1/min */
#define JUXTA_MAX_BLE_INTERVAL_S 120U
#define JUXTA_DEFAULT_INACTIVITY_MULTIPLIER 1U
#define JUXTA_MAX_INACTIVITY_MULTIPLIER 10U

#define MAGNET_DEBOUNCE_MS 3000U
#define DFU_HOLD_THRESHOLD_MS 10000U
/* Soft floor for DFU entry on CR2032 (UVLO is lower; DFU needs headroom). */
#define BATT_DFU_MIN_MV 2700

/* Shelf idle: brief white LED cue while awaiting a button wake. */
#define SHELF_CHIRP_INTERVAL_MS 5000U
#define SHELF_CHIRP_ON_MS 20U

/* CR2032 UVLO: below this, refuse consequential boot / leave production. */
#define BATT_UVLO_MV 2500
#define BATT_UVLO_GATE_SAMPLES 3U
#define BATT_UVLO_GATE_GAP_MS 10U
#define BATT_UVLO_LED_ON_MS 40U
#define BATT_UVLO_LED_OFF_MS 2000U

/* Filenames are "JXByyyymmdd.csv" = 15 chars + null. */
#define JUXTA_FILE_NAME_LEN 20
#define JUXTA_FILE_PATH_LEN 64
#define JUXTA_CACHE_NAME_LEN 20
/* 24 days x 3 file types (JXS/JXV/JXB): rotation cap for a 22-day deployment
 * with margin.  Knock-on sizes: files[] in juxta_log_context ~5.3 KB static
 * RAM; the NVS log-cache blob ~2.3 KB (see CONFIG_SETTINGS_NVS_SECTOR_COUNT
 * in prj.conf, raised for GC headroom). */
#define JUXTA_MAX_FILES 72
#define JUXTA_TRANSFER_CHUNK_SIZE 512

enum juxta_op_mode {
	JUXTA_OP_MODE_SHELF = 0,
	JUXTA_OP_MODE_SYNC = 1,
	JUXTA_OP_MODE_PROD = 2,
	JUXTA_OP_MODE_DFU = 3,
};

#endif /* JUXTA_PROD_H_ */
```

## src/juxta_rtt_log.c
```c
#include "juxta_rtt_log.h"

#include <zephyr/logging/log.h>

#include "juxta_time.h"

LOG_MODULE_REGISTER(juxta_rtt_log, LOG_LEVEL_INF);

void juxta_rtt_jxs(const char *event)
{
	uint32_t t = juxta_time_now();

	LOG_INF("JXS unix=%u event=%s", t, event != NULL ? event : "?");
}

void juxta_rtt_jxb(const char *peer, int8_t rssi)
{
	uint32_t t = juxta_time_now();

	LOG_INF("JXB unix=%u peer=%s rssi=%d", t, peer != NULL ? peer : "?", (int)rssi);
}

void juxta_rtt_jxv(uint32_t motion, int32_t batt_mv, float temp_c, bool temp_ok, float humidity,
		   bool humidity_ok, uint32_t lux, bool lux_ok)
{
	uint32_t t = juxta_time_now();
	char lux_field[16];

	if (lux_ok) {
		(void)snprintf(lux_field, sizeof(lux_field), "%u", lux);
	} else {
		(void)snprintf(lux_field, sizeof(lux_field), "nan");
	}

	if (temp_ok && humidity_ok) {
		LOG_INF("JXV unix=%u motion=%u batt_mv=%d temp_c=%.1f humidity=%.1f lux=%s", t,
			motion, (int)batt_mv, (double)temp_c, (double)humidity, lux_field);
	} else if (temp_ok) {
		LOG_INF("JXV unix=%u motion=%u batt_mv=%d temp_c=%.1f humidity=nan lux=%s", t,
			motion, (int)batt_mv, (double)temp_c, lux_field);
	} else if (humidity_ok) {
		LOG_INF("JXV unix=%u motion=%u batt_mv=%d temp_c=nan humidity=%.1f lux=%s", t,
			motion, (int)batt_mv, (double)humidity, lux_field);
	} else {
		LOG_INF("JXV unix=%u motion=%u batt_mv=%d temp_c=nan humidity=nan lux=%s", t, motion,
			(int)batt_mv, lux_field);
	}
}
```
